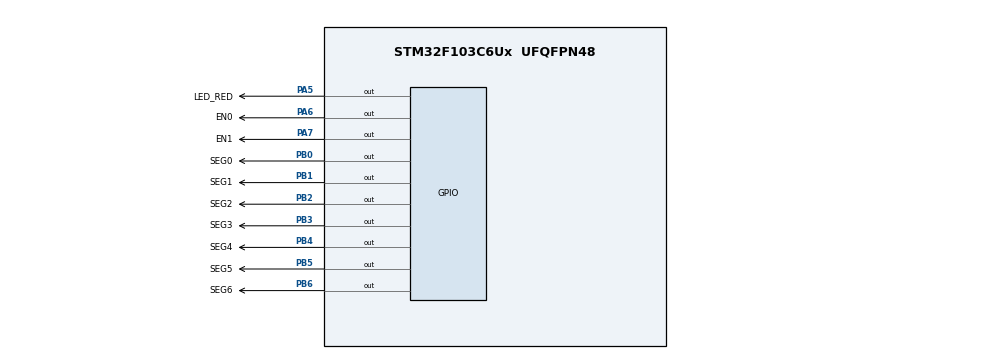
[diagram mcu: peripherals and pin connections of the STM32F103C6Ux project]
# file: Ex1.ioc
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Mcu.Family=STM32F1
Mcu.Name=STM32F103C6Ux
Mcu.Package=UFQFPN48
NVIC.PriorityGroup=NVIC_PRIORITYGROUP_4
NVIC.TIM2_IRQn=true\:0\:0\:false\:false\:true\:true\:true
PA5.GPIO_Label=LED_RED
PA5.Signal=GPIO_Output
PA6.GPIO_Label=EN0
PA6.Signal=GPIO_Output
PA7.GPIO_Label=EN1
PA7.Signal=GPIO_Output
PB0.GPIO_Label=SEG0
PB0.Signal=GPIO_Output
PB1.GPIO_Label=SEG1
PB1.Signal=GPIO_Output
PB2.GPIO_Label=SEG2
PB2.Signal=GPIO_Output
PB3.GPIO_Label=SEG3
PB3.Signal=GPIO_Output
PB4.GPIO_Label=SEG4
PB4.Signal=GPIO_Output
PB5.GPIO_Label=SEG5
PB5.Signal=GPIO_Output
PB6.GPIO_Label=SEG6
PB6.Signal=GPIO_Output
ProjectManager.HeapSize=0x200
ProjectManager.StackSize=0x400
ProjectManager.TargetToolchain=STM32CubeIDE
RCC.APB1Freq_Value=8000000
RCC.APB2Freq_Value=8000000
TIM2.Period=9
TIM2.Prescaler=7999
VP_SYS_VS_ND.Mode=No_Debug
VP_TIM2_VS_ClockSourceINT.Mode=Internal
board=custom

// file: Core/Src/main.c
/* USER CODE BEGIN Header */
/**
  ******************************************************************************
  * @file           : main.c
  * @brief          : Main program body
  ******************************************************************************
  * @attention
  *
  * <h2><center>&copy; Copyright (c) 2025 STMicroelectronics.
  * All rights reserved.</center></h2>
  *
  * This software component is licensed by ST under BSD 3-Clause license,
  * the "License"; You may not use this file except in compliance with the
  * License. You may obtain a copy of the License at:
  *                        opensource.org/licenses/BSD-3-Clause
  *
  ******************************************************************************
  */
/* USER CODE END Header */
#include "main.h"

/* USER CODE BEGIN Includes */
#include "softWareTimer.h"
/* USER CODE END Includes */

TIM_HandleTypeDef htim2;

/* USER CODE BEGIN PV */
TIM_HandleTypeDef htim2;
const uint8_t seg_table[10] = {
    0b1000000, // 0
    0b1111001, // 1
    0b0100100, // 2
    0b0110000, // 3
    0b0011001, // 4
    0b0010010, // 5
    0b0000010, // 6
    0b1111000, // 7
    0b0000000, // 8
    0b0010000  // 9
};
/* USER CODE END PV */

void SystemClock_Config(void);
static void MX_GPIO_Init(void);
static void MX_TIM2_Init(void);

int main(void)
{

  /* MCU Configuration--------------------------------------------------------*/

  /* Reset of all peripherals, Initializes the Flash interface and the Systick. */
  HAL_Init();

  /* Configure the system clock */
  SystemClock_Config();

  /* Initialize all configured peripherals */
  MX_GPIO_Init();
  MX_TIM2_Init();
  /* USER CODE BEGIN 2 */
  HAL_TIM_Base_Start_IT(&htim2);
  /* USER CODE END 2 */

  /* Infinite loop */
  /* USER CODE BEGIN WHILE */
  setTimer(1, 50);
  int led_index = 0; // 0 = LED1, 1 = LED2
  while (1)
  {
      if (isTimerExpire(0)) {
    	  HAL_GPIO_TogglePin(LED_RED_GPIO_Port, LED_RED_Pin);
          switch (led_index) {
			  case 0:
				  // display number 1 LED1
				  display7SEG(1);
				  HAL_GPIO_WritePin(EN0_GPIO_Port, EN0_Pin, GPIO_PIN_RESET); // turn on LED1
				  HAL_GPIO_WritePin(EN1_GPIO_Port, EN1_Pin, GPIO_PIN_SET);   // turn off LED2
				  led_index = 1;
				  break;

      	  	  case 1:
				  // display number 2 LED2
				  display7SEG(2);
				  HAL_GPIO_WritePin(EN0_GPIO_Port, EN0_Pin, GPIO_PIN_SET);   // turn off LED1
				  HAL_GPIO_WritePin(EN1_GPIO_Port, EN1_Pin, GPIO_PIN_RESET); // turn on LED2
				  led_index = 0;
				  break;

			  default:
				  break;
          }
          setTimer(0, 50); // reset timer 0.5s
      }
    /* USER CODE END WHILE */

  }
}

void SystemClock_Config(void)
{
  RCC_OscInitTypeDef RCC_OscInitStruct = {0};
  RCC_ClkInitTypeDef RCC_ClkInitStruct = {0};

  /** Initializes the RCC Oscillators according to the specified parameters
  * in the RCC_OscInitTypeDef structure.
  */
  RCC_OscInitStruct.OscillatorType = RCC_OSCILLATORTYPE_HSI;
  RCC_OscInitStruct.HSIState = RCC_HSI_ON;
  RCC_OscInitStruct.HSICalibrationValue = RCC_HSICALIBRATION_DEFAULT;
  RCC_OscInitStruct.PLL.PLLState = RCC_PLL_NONE;
  if (HAL_RCC_OscConfig(&RCC_OscInitStruct) != HAL_OK)
  {
    Error_Handler();
  }
  /** Initializes the CPU, AHB and APB buses clocks
  */
  RCC_ClkInitStruct.ClockType = RCC_CLOCKTYPE_HCLK|RCC_CLOCKTYPE_SYSCLK
                              |RCC_CLOCKTYPE_PCLK1|RCC_CLOCKTYPE_PCLK2;
  RCC_ClkInitStruct.SYSCLKSource = RCC_SYSCLKSOURCE_HSI;
  RCC_ClkInitStruct.AHBCLKDivider = RCC_SYSCLK_DIV1;
  RCC_ClkInitStruct.APB1CLKDivider = RCC_HCLK_DIV1;
  RCC_ClkInitStruct.APB2CLKDivider = RCC_HCLK_DIV1;

  if (HAL_RCC_ClockConfig(&RCC_ClkInitStruct, FLASH_LATENCY_0) != HAL_OK)
  {
    Error_Handler();
  }
}

static void MX_TIM2_Init(void)
{

  TIM_ClockConfigTypeDef sClockSourceConfig = {0};
  TIM_MasterConfigTypeDef sMasterConfig = {0};

  htim2.Instance = TIM2;
  htim2.Init.Prescaler = 7999;
  htim2.Init.CounterMode = TIM_COUNTERMODE_UP;
  htim2.Init.Period = 9;
  htim2.Init.ClockDivision = TIM_CLOCKDIVISION_DIV1;
  htim2.Init.AutoReloadPreload = TIM_AUTORELOAD_PRELOAD_DISABLE;
  if (HAL_TIM_Base_Init(&htim2) != HAL_OK)
  {
    Error_Handler();
  }
  sClockSourceConfig.ClockSource = TIM_CLOCKSOURCE_INTERNAL;
  if (HAL_TIM_ConfigClockSource(&htim2, &sClockSourceConfig) != HAL_OK)
  {
    Error_Handler();
  }
  sMasterConfig.MasterOutputTrigger = TIM_TRGO_RESET;
  sMasterConfig.MasterSlaveMode = TIM_MASTERSLAVEMODE_DISABLE;
  if (HAL_TIMEx_MasterConfigSynchronization(&htim2, &sMasterConfig) != HAL_OK)
  {
    Error_Handler();
  }

}

static void MX_GPIO_Init(void)
{
  GPIO_InitTypeDef GPIO_InitStruct = {0};

  /* GPIO Ports Clock Enable */
  __HAL_RCC_GPIOA_CLK_ENABLE();
  __HAL_RCC_GPIOB_CLK_ENABLE();

  /*Configure GPIO pin Output Level */
  HAL_GPIO_WritePin(GPIOA, LED_RED_Pin|EN0_Pin|EN1_Pin, GPIO_PIN_RESET);

  /*Configure GPIO pin Output Level */
  HAL_GPIO_WritePin(GPIOB, SEG0_Pin|SEG1_Pin|SEG2_Pin|SEG3_Pin
                          |SEG4_Pin|SEG5_Pin|SEG6_Pin, GPIO_PIN_RESET);

  /*Configure GPIO pins : LED_RED_Pin EN0_Pin EN1_Pin */
  GPIO_InitStruct.Pin = LED_RED_Pin|EN0_Pin|EN1_Pin;
  GPIO_InitStruct.Mode = GPIO_MODE_OUTPUT_PP;
  GPIO_InitStruct.Pull = GPIO_NOPULL;
  GPIO_InitStruct.Speed = GPIO_SPEED_FREQ_LOW;
  HAL_GPIO_Init(GPIOA, &GPIO_InitStruct);

  /*Configure GPIO pins : SEG0_Pin SEG1_Pin SEG2_Pin SEG3_Pin
                           SEG4_Pin SEG5_Pin SEG6_Pin */
  GPIO_InitStruct.Pin = SEG0_Pin|SEG1_Pin|SEG2_Pin|SEG3_Pin
                          |SEG4_Pin|SEG5_Pin|SEG6_Pin;
  GPIO_InitStruct.Mode = GPIO_MODE_OUTPUT_PP;
  GPIO_InitStruct.Pull = GPIO_NOPULL;
  GPIO_InitStruct.Speed = GPIO_SPEED_FREQ_LOW;
  HAL_GPIO_Init(GPIOB, &GPIO_InitStruct);

}

/* USER CODE BEGIN 4 */
void HAL_TIM_PeriodElapsedCallback(TIM_HandleTypeDef* htim)
{
	timerRun();
}
void display7SEG(int num) {
    if (num < 0 || num > 9) return;
    uint8_t pattern = seg_table[num];
    HAL_GPIO_WritePin(SEG0_GPIO_Port, SEG0_Pin, pattern & 0x01);
    HAL_GPIO_WritePin(SEG1_GPIO_Port, SEG1_Pin, (pattern >> 1) & 0x01);
    HAL_GPIO_WritePin(SEG2_GPIO_Port, SEG2_Pin, (pattern >> 2) & 0x01);
    HAL_GPIO_WritePin(SEG3_GPIO_Port, SEG3_Pin, (pattern >> 3) & 0x01);
    HAL_GPIO_WritePin(SEG4_GPIO_Port, SEG4_Pin, (pattern >> 4) & 0x01);
    HAL_GPIO_WritePin(SEG5_GPIO_Port, SEG5_Pin, (pattern >> 5) & 0x01);
    HAL_GPIO_WritePin(SEG6_GPIO_Port, SEG6_Pin, (pattern >> 6) & 0x01);
}
/* USER CODE END 4 */

void Error_Handler(void)
{
  __disable_irq();
  while (1)
  {
  }
}

/************************ (C) COPYRIGHT STMicroelectronics *****END OF FILE****/
